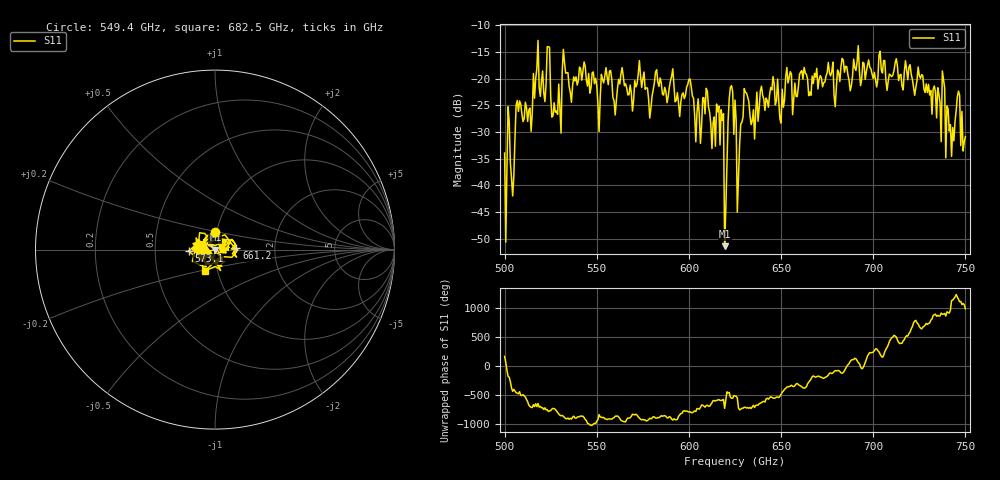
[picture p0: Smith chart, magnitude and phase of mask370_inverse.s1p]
!Created with skrf (http://scikit-rf.org).
# GHz S MA R 50.0
!freq magS11 angS11
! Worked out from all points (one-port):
!   401 points, 500 GHz to 750 GHz, reference 50 ohm
!   lowest |S11| = -51.4 dB at 619.4 GHz (marker M1), VSWR 1.01, Z = 50.3 - j0.0462 ohm
!   |S11| at or under -10 dB: start of sweep to end of sweep
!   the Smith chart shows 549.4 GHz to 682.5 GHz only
!   S11 on the Smith chart (normalised r, x): 549.4 GHz: 0.98, +0.20; 573.1 GHz: 0.74, -0.01; 661.2 GHz: 1.27, +0.02; 682.5 GHz: 0.87, -0.21
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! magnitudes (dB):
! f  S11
! 500 GHz  -33.9
! 504.4 GHz  -42.0
! 507.5 GHz  -26.1
! 513.8 GHz  -25.5
! 516.9 GHz  -20.0
! 523.8 GHz  -14.1
! 526.9 GHz  -24.5
! 531.2 GHz  -18.6
! 549.4 GHz  -19.9
! 562.5 GHz  -21.0
! 573.1 GHz  -16.6
! 593.8 GHz  -22.6
! 616.2 GHz  -25.1
! 619.4 GHz  -51.4
! 620.6 GHz  -36.1
! 622.5 GHz  -21.6
! 625 GHz  -24.0
! 627.5 GHz  -32.3
! 631.2 GHz  -22.7
! 634.4 GHz  -27.9
! 656.2 GHz  -26.7
! 661.2 GHz  -18.5
! 682.5 GHz  -17.7
! 687.5 GHz  -22.3
! 718.8 GHz  -20.2
! 742.5 GHz  -34.6
! 745.6 GHz  -23.4
! 750 GHz  -30.9
